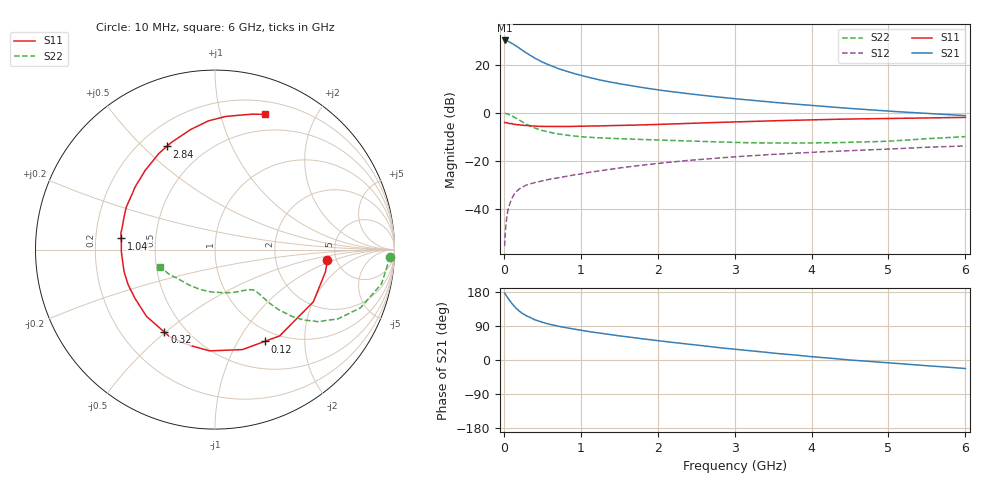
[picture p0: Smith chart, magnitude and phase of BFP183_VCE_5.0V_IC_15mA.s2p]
! (c) 2016  Infineon Technologies AG, Munich
! Infineon Technologies  Discrete & RF Semiconductors
! BFP183
! VCE = 5.0 V,  IC =  15 mA
! Common Emitter S-Parameters:  Jan 2016
# GHz  S  MA  R  50
!  f  S11  S21  S12  S22
! GHz  MAG  ANG  MAG  ANG  MAG  ANG  MAG  ANG
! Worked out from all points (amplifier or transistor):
!   210 points, 10 MHz to 6 GHz, reference 50 ohm
!   highest |S21| = 30.0 dB at 10 MHz (marker M1)
!   |S21| within 3 dB of that: start of sweep to 192.4 MHz
!   unconditionally stable (mu >= 1): 979.5 MHz to 5.688 GHz
!   at 185 MHz: K = 0.31, MSG = 29.6 dB, |S12| = -32.1 dB
!   at 1.52 GHz: K = 1.11, MAG = 15.4 dB, |S12| = -22.8 dB
!   at 6 GHz: K = 0.96, MSG = 6.3 dB, |S12| = -13.8 dB
!   S11 on the Smith chart (normalised r, x): 10 MHz: 4.22, -0.84; 120 MHz: 0.84, -1.30; 320 MHz: 0.38, -0.50; 1.04 GHz: 0.31, +0.05; 2.84 GHz: 0.31, +0.59; 6 GHz: 0.33, +1.39
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0.01  0.6295 -5.5  31.77 176.5  0.0017 86.5  0.9764 -2.3
0.02  0.6278 -11.4  31.64 173.7  0.0034 86.4  0.9668 -4.7
0.05  0.6204 -28.0  30.94 164.1  0.009 79.9  0.9472 -11.6
0.1  0.6008 -53.2  28.07 150.1  0.0161 67.3  0.8734 -21.8
0.12  0.5816 -61.6  26.72 145.7  0.0185 63.9  0.8366 -24.6
0.15  0.5776 -74.7  25.02 138.3  0.0222 60.2  0.7858 -29.4
0.2  0.5649 -93.0  22.09 128.9  0.0261 54.8  0.7018 -34.9
0.26  0.5489 -108.5  18.83 120.5  0.0297 50.4  0.6187 -38.9
0.32  0.5393 -121.5  16.44 114.2  0.0326 48.4  0.5543 -41.3
0.4  0.533 -135.8  13.73 106.2  0.0355 46.5  0.4857 -43.4
0.5  0.5221 -148.7  11.31 99.4  0.0387 45.7  0.4282 -44.5
0.6  0.522 -158.3  9.68 94.0  0.0418 46.0  0.3913 -44.8
0.8  0.519 -173.4  7.406 85.4  0.0475 46.9  0.346 -45.1
1.02  0.5251 174.1  5.863 77.8  0.0545 48.6  0.3172 -46.0
1.04  0.5266 173.2  5.761 77.1  0.0553 48.6  0.3155 -46.1
1.48  0.5469 154.8  4.073 64.3  0.0706 48.9  0.2907 -50.2
2.02  0.5743 136.4  2.962 50.7  0.0893 46.9  0.2716 -58.7
2.84  0.6344 115.1  2.083 31.7  0.1168 41.4  0.2474 -76.8
3.1  0.6517 109.5  1.897 26.6  0.1248 39.4  0.2406 -83.6
4.1  0.7224 91.4  1.382 7.2  0.1537 31.2  0.237 -113.6
5.1  0.7653 78.6  1.059 -9.0  0.1792 24.3  0.263 -142.1
6  0.8034 69.6  0.873 -22.5  0.2049 16.3  0.321 -162.8
